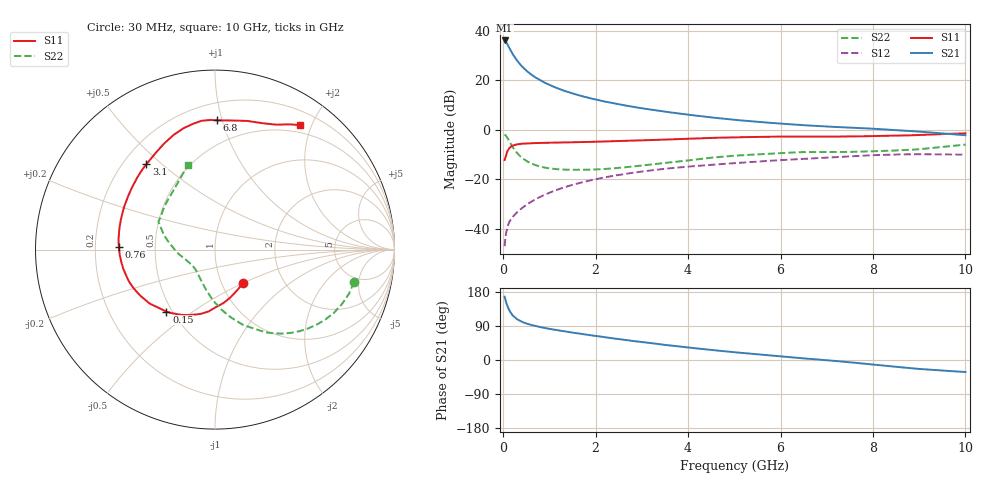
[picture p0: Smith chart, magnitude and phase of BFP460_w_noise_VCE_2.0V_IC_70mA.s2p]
! (c) 2016  Infineon Technologies AG, Munich
! Infineon Technologies  Discrete & RF Semiconductors
! BFP460
! VCE =  2.0 V,  IC =  70 mA
! Common Emitter S-Parameters:  Jan 2016
# GHz  S  MA  R  50
!  f  S11  S21  S12  S22
! GHz  MAG  ANG  MAG  ANG  MAG  ANG  MAG  ANG
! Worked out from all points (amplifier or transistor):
!   229 points, 30 MHz to 10 GHz, reference 50 ohm
!   highest |S21| = 36.0 dB at 30 MHz (marker M1)
!   |S21| within 3 dB of that: start of sweep to 130.9 MHz
!   unconditionally stable (mu >= 1): 703.5 MHz to 7.761 GHz
!   at 280 MHz: K = 0.75, MSG = 31.1 dB, |S12| = -33.7 dB
!   at 1.78 GHz: K = 1.07, MAG = 15.4 dB, |S12| = -21.0 dB
!   at 10 GHz: K = 0.97, MSG = 3.9 dB, |S12| = -10.1 dB
!   lowest NFmin = 2.03 dB at 3.5 GHz
!   S11 on the Smith chart (normalised r, x): 30 MHz: 1.26, -0.50; 150 MHz: 0.47, -0.40; 760 MHz: 0.30, +0.01; 3.1 GHz: 0.29, +0.45; 6.8 GHz: 0.32, +0.96; 10 GHz: 0.39, +1.83
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0.03  0.2427 -49.6  63.32 167.1  0.0044 82.6  0.796 -13.1
0.05  0.2805 -72.3  60.42 157.5  0.0067 76.6  0.7696 -23.2
0.07  0.3242 -90.3  57.05 149.4  0.0088 70.5  0.7278 -32.4
0.08  0.3462 -95.9  55.1 146.0  0.0097 69.1  0.7038 -36.5
0.09  0.3672 -102.6  52.95 142.4  0.0107 67.4  0.6783 -40.5
0.11  0.3942 -112.2  48.9 136.5  0.0121 64.8  0.6293 -47.4
0.15  0.4388 -128.1  41.41 126.8  0.0146 61.6  0.5382 -58.8
0.2  0.4719 -140.4  34.2 118.3  0.017 60.3  0.4494 -69.4
0.24  0.4865 -147.4  29.84 113.6  0.0188 60.2  0.3965 -75.6
0.3  0.5035 -155.4  24.73 107.6  0.0214 60.7  0.3359 -83.9
0.34  0.5102 -159.3  22.22 104.8  0.0231 61.4  0.3066 -88.1
0.4  0.5165 -164.5  19.15 100.9  0.0257 62.3  0.272 -94.0
0.5  0.5249 -170.6  15.56 96.3  0.03 64.0  0.2329 -101.7
0.76  0.536 178.4  10.46 88.0  0.0418 66.1  0.1832 -116.1
1.1  0.5448 168.4  7.277 80.0  0.0577 66.2  0.1604 -128.7
1.7  0.5598 154.6  4.751 68.7  0.0856 63.1  0.1538 -142.5
3.1  0.6102 128.8  2.614 46.0  0.1459 51.1  0.1925 -169.4
3.4  0.6234 124.1  2.376 41.5  0.1574 48.2  0.2065 -174.1
5.1  0.7009 103.6  1.547 19.4  0.2127 34.6  0.3005 163.1
6.8  0.7206 89.3  1.181 1.4  0.2647 21.6  0.3517 152.7
8.4  0.7486 70.8  0.989 -16.8  0.3125 6.8  0.3747 136.9
10  0.8392 55.7  0.769 -31.6  0.312 -5.9  0.497 107.6
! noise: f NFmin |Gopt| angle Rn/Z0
0.45  2.18  0.41  -169  0.13
0.9  2.25  0.38  -159  0.14
1.9  2.41  0.49  -138  0.2
3.5  2.03  0.78  -114  0.43
